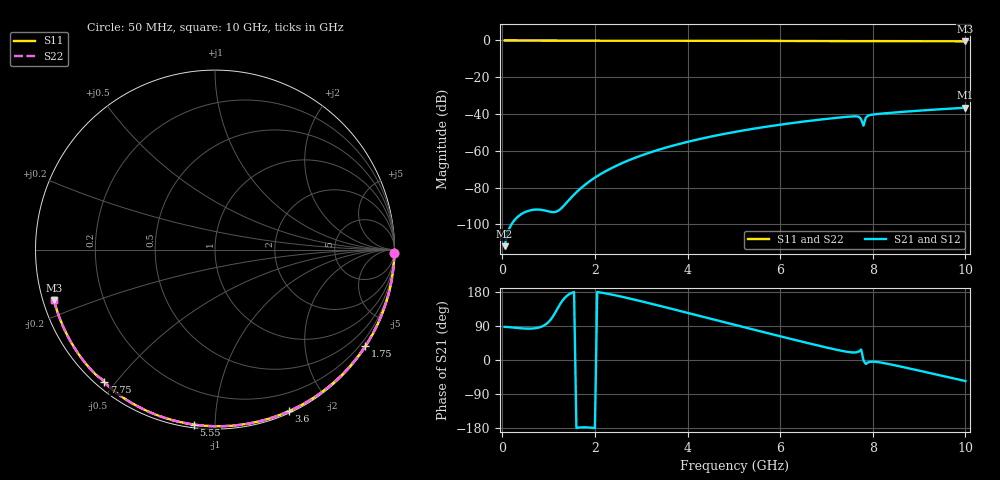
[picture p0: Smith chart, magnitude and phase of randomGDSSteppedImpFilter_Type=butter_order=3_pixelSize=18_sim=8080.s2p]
! freq	dB(S11)	phase(S11)	dB(S12)	phase(S12)
!  dB(S21)	phase(S21)	dB(S22)	phase(S22)
!S-par simulation data
#  GHz  S  DB  R 50
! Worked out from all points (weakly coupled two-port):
!   200 points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, 50 MHz to 10 GHz, reference 50 ohm
!   highest |S21| = -36.59 dB at 10 GHz (marker M1); lowest = -111.9 dB at 50 MHz (marker M2)
!   lowest |S11| = -0.5 dB at 10 GHz (marker M3), VSWR 32.57, Z = 1.57 - j7.64 ohm
!   |S11| at or under -10 dB: nowhere
!   |S22| runs from -0.5 to 0.0 dB; largest |S21 - S12| = 0
!   S11 on the Smith chart (normalised r, x): 50 MHz: open; 1.75 GHz: 0.03, -3.40; 3.6 GHz: 0.02, -1.56; 5.55 GHz: 0.02, -0.88; 7.75 GHz: 0.02, -0.47; 10 GHz: 0.03, -0.15
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0.05  -0.00 -1.0  -111.90 87.4  -111.90 87.4  -0.00 -1.0
0.85  -0.02 -16.1  -92.15 88.1  -92.15 88.1  -0.02 -16.1
1.7  -0.04 -31.9  -80.28 -177.8  -80.28 -177.8  -0.04 -31.9
1.75  -0.04 -32.8  -79.22 -177.6  -79.22 -177.6  -0.04 -32.8
2.05  -0.05 -38.2  -73.81 179.4  -73.81 179.4  -0.05 -38.2
2.45  -0.06 -45.4  -68.31 170.4  -68.31 170.4  -0.06 -45.4
2.9  -0.07 -53.4  -63.52 157.9  -63.52 157.9  -0.07 -53.4
3.4  -0.08 -62.0  -59.27 143.0  -59.27 143.0  -0.08 -62.0
3.6  -0.09 -65.4  -57.80 136.8  -57.80 136.8  -0.09 -65.4
4.3  -0.11 -77.1  -53.40 115.1  -53.40 115.1  -0.11 -77.1
5.05  -0.14 -89.2  -49.63 91.8  -49.63 91.8  -0.14 -89.2
5.55  -0.16 -97.0  -47.51 76.4  -47.51 76.4  -0.16 -97.0
6.7  -0.22 -114.4  -43.53 41.6  -43.53 41.6  -0.22 -114.4
7.6  -0.30 -127.8  -41.27 19.8  -41.27 19.8  -0.30 -127.8
7.7  -0.33 -129.2  -41.53 22.6  -41.53 22.6  -0.33 -129.2
7.75  -0.34 -129.9  -42.87 27.5  -42.87 27.5  -0.34 -129.9
7.8  -0.36 -130.6  -46.34 -1.0  -46.34 -1.0  -0.36 -130.5
7.85  -0.36 -131.1  -41.95 -10.7  -41.95 -10.7  -0.36 -131.1
7.9  -0.36 -131.7  -40.89 -6.3  -40.89 -6.3  -0.35 -131.7
8.35  -0.35 -138.4  -39.44 -10.7  -39.44 -10.7  -0.35 -138.4
9.2  -0.44 -150.8  -37.84 -33.5  -37.84 -33.5  -0.44 -150.8
10  -0.53 -162.6  -36.59 -55.5  -36.59 -55.5  -0.53 -162.6
